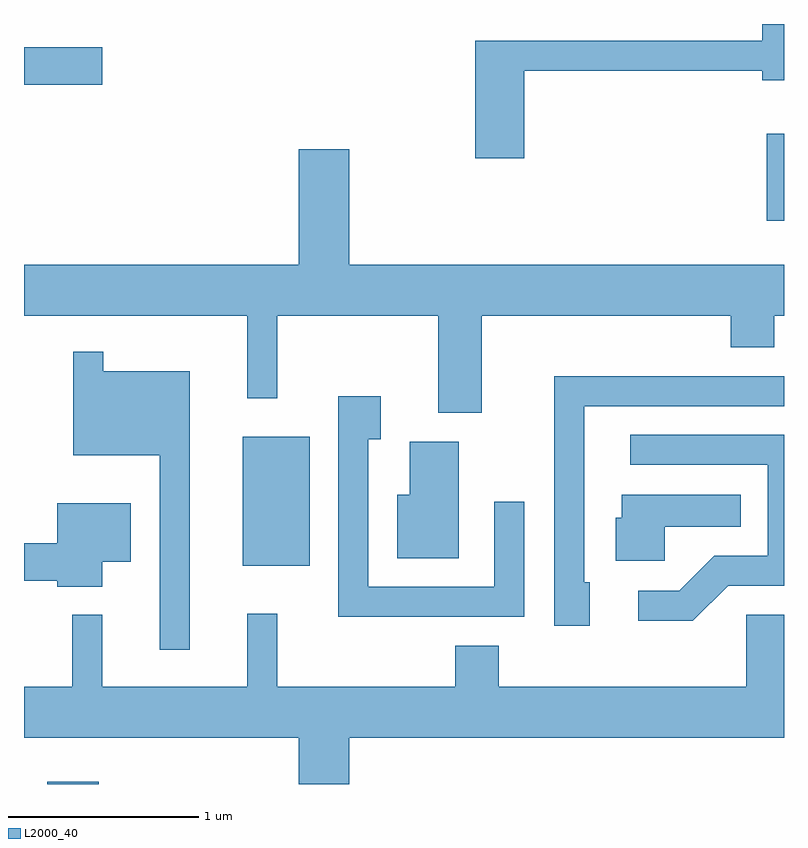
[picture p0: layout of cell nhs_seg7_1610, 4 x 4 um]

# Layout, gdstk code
import gdstk
lib = gdstk.Library(unit=1e-6, precision=1e-09)
def R(c, l, rs):  # rectangles x0, y0, x1, y1
    for r in rs: c.add(gdstk.rectangle(r[:2], r[2:], *l))
def P(c, l, *ps):  # polygons
    for p in ps: c.add(gdstk.Polygon(p, *l))
L2000_40 = (2000, 40)

nhs_seg7_1610 = lib.new_cell('nhs_seg7_1610')
R(nhs_seg7_1610, L2000_40, [(233.733,1756.252,234.004,1756.264), (234.761,1757.401,235.114,1758.079), (237.521,1759.216,237.611,1759.674), (233.611,1759.931,234.024,1760.129)])
P(nhs_seg7_1610, L2000_40, [(236.244,1760.006),(237.496,1760.006),(237.496,1759.956),(237.611,1759.956),(237.611,1760.252),(237.496,1760.252),(237.496,1760.164),(235.986,1760.164),(235.986,1759.546),(236.244,1759.546)],
  [(236.019,1758.716),(237.331,1758.716),(237.331,1758.551),(237.559,1758.551),(237.559,1758.716),(237.611,1758.716),(237.611,1758.984),(235.324,1758.984),(235.324,1759.594),(235.056,1759.594),(235.056,1758.984),(233.611,1758.984),(233.611,1758.716),(234.786,1758.716),(234.786,1758.283),(234.944,1758.283),(234.944,1758.716),(235.791,1758.716),(235.791,1758.206),(236.019,1758.206)],
  [(234.484,1758.424),(234.029,1758.424),(234.029,1758.528),(233.871,1758.528),(233.871,1757.981),(234.326,1757.981),(234.326,1756.958),(234.484,1756.958)],
  [(236.589,1757.314),(236.559,1757.314),(236.559,1758.241),(237.611,1758.241),(237.611,1758.399),(236.401,1758.399),(236.401,1757.086),(236.589,1757.086)],
  [(236.244,1757.738),(236.086,1757.738),(236.086,1757.289),(235.424,1757.289),(235.424,1758.066),(235.489,1758.066),(235.489,1758.294),(235.266,1758.294),(235.266,1757.131),(236.244,1757.131)],
  [(237.317,1757.296),(237.611,1757.296),(237.611,1758.089),(236.803,1758.089),(236.803,1757.931),(237.526,1757.931),(237.526,1757.454),(237.244,1757.454),(237.059,1757.269),(236.843,1757.269),(236.843,1757.111),(237.132,1757.111)],
  [(235.899,1758.054),(235.641,1758.054),(235.641,1757.774),(235.576,1757.774),(235.576,1757.441),(235.899,1757.441)],
  [(236.984,1757.606),(237.383,1757.606),(237.383,1757.774),(236.756,1757.774),(236.756,1757.654),(236.726,1757.654),(236.726,1757.426),(236.984,1757.426)],
  [(234.024,1757.421),(234.174,1757.421),(234.174,1757.729),(233.786,1757.729),(233.786,1757.519),(233.611,1757.519),(233.611,1757.321),(233.786,1757.321),(233.786,1757.291),(234.024,1757.291)],
  [(235.324,1756.496),(237.611,1756.496),(237.611,1757.144),(237.411,1757.144),(237.411,1756.764),(236.109,1756.764),(236.109,1756.979),(235.881,1756.979),(235.881,1756.764),(234.944,1756.764),(234.944,1757.148),(234.786,1757.148),(234.786,1756.764),(234.024,1756.764),(234.024,1757.143),(233.866,1757.143),(233.866,1756.764),(233.611,1756.764),(233.611,1756.496),(235.056,1756.496),(235.056,1756.252),(235.324,1756.252)])

lib.write_gds('nhs_seg7_1610.gds')
